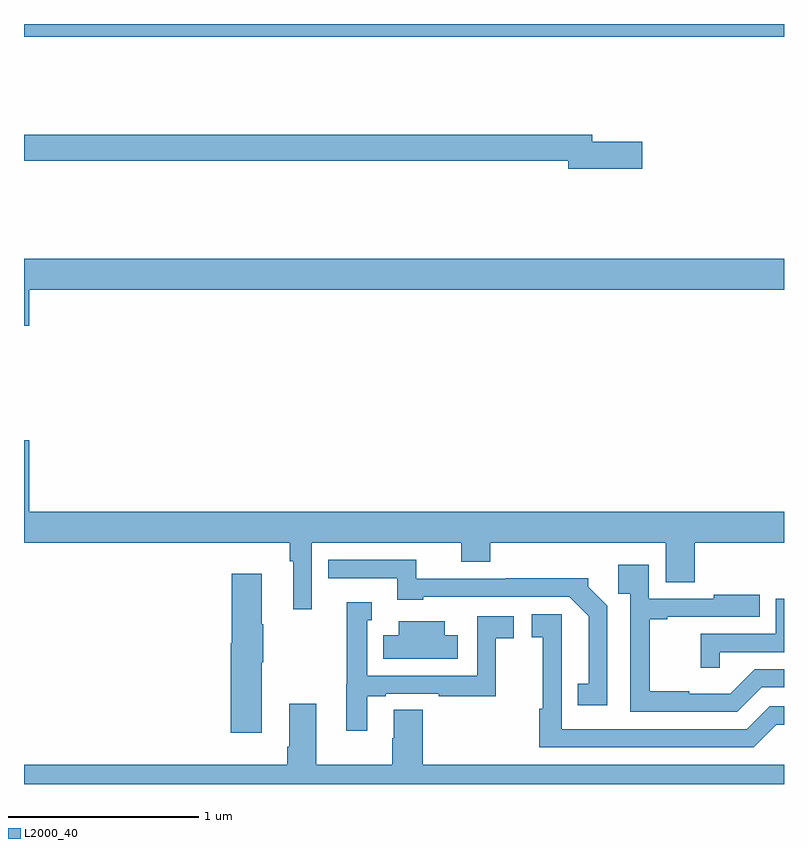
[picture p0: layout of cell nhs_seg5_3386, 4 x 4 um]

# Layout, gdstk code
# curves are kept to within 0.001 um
import gdstk
lib = gdstk.Library(unit=1e-6, precision=1e-09)
def R(c, l, rs):  # rectangles x0, y0, x1, y1
    for r in rs: c.add(gdstk.rectangle(r[:2], r[2:], *l))
def P(c, l, *ps):  # polygons
    for p in ps: c.add(gdstk.Polygon(p, *l))
L2000_40 = (2000, 40)

nhs_seg5_3386 = lib.new_cell('nhs_seg5_3386')
R(nhs_seg5_3386, L2000_40, [(309,884.732,313,884.799)])
P(nhs_seg5_3386, L2000_40, [(312.253,884.18),(311.992,884.18),(311.992,884.216),(309,884.216),(309,884.08),(311.864,884.08),(311.864,884.038),(312.253,884.038)],
  [(309.028,883.4),(313,883.4),(313,883.564),(309,883.564),(309,883.212),(309.028,883.212)],
  [(310.515,882.068),(311.3,882.068),(311.3,881.969),(311.453,881.969),(311.453,882.068),(312.377,882.068),(312.377,881.86),(312.53,881.86),(312.53,882.068),(313,882.068),(313,882.232),(309.028,882.232),(309.028,882.607),(309,882.607),(309,882.068),(310.399,882.068),(310.399,881.972),(310.418,881.972),(310.418,881.718),(310.515,881.718)],
  [(312.069,881.738),(311.97,881.837),(311.97,881.882),(311.536,881.882),(311.536,881.88),(311.064,881.88),(311.064,881.979),(310.6,881.979),(310.6,881.883),(310.964,881.883),(310.964,881.768),(311.1,881.768),(311.1,881.784),(311.871,881.784),(311.972,881.683),(311.972,881.327),(311.914,881.327),(311.914,881.214),(312.069,881.214)],
  [(312.882,881.307),(313,881.307),(313,881.403),(312.846,881.403),(312.718,881.275),(312.5,881.275),(312.5,881.287),(312.293,881.287),(312.293,881.667),(312.385,881.667),(312.385,881.679),(312.872,881.679),(312.872,881.794),(312.629,881.794),(312.629,881.775),(312.288,881.775),(312.288,881.953),(312.127,881.953),(312.127,881.801),(312.192,881.801),(312.192,881.178),(312.753,881.178)],
  [(310.252,881.441),(310.26,881.441),(310.26,881.641),(310.252,881.641),(310.252,881.905),(310.094,881.905),(310.094,881.541),(310.088,881.541),(310.088,881.07),(310.252,881.07)],
  [(312.663,881.493),(313,881.493),(313,881.775),(312.957,881.775),(312.957,881.589),(312.562,881.589),(312.562,881.412),(312.663,881.412)],
  [(310.807,881.262),(310.903,881.262),(310.903,881.274),(311.182,881.274),(311.182,881.262),(311.484,881.262),(311.484,881.566),(311.578,881.566),(311.578,881.682),(311.385,881.682),(311.385,881.37),(310.806,881.37),(310.806,881.661),(310.831,881.661),(310.831,881.755),(310.698,881.755),(310.698,881.323),(310.697,881.323),(310.697,881.079),(310.807,881.079)],
  [(312.96,881.112),(313,881.112),(313,881.208),(312.924,881.208),(312.804,881.088),(311.829,881.088),(311.83,881.692),(311.673,881.692),(311.673,881.571),(311.731,881.571),(311.731,881.195),(311.713,881.195),(311.713,880.992),(312.84,880.992)],
  [(311.284,881.581),(311.215,881.581),(311.215,881.656),(310.973,881.656),(310.973,881.581),(310.891,881.581),(310.891,881.459),(311.284,881.459)],
  [(311.099,881.189),(310.946,881.189),(310.946,881.039),(310.939,881.039),(310.939,880.9),(310.537,880.9),(310.537,881.221),(310.397,881.221),(310.397,880.996),(310.385,880.996),(310.385,880.9),(309,880.9),(309,880.799),(313,880.799),(313,880.9),(311.099,880.9)])

lib.write_gds('nhs_seg5_3386.gds')
